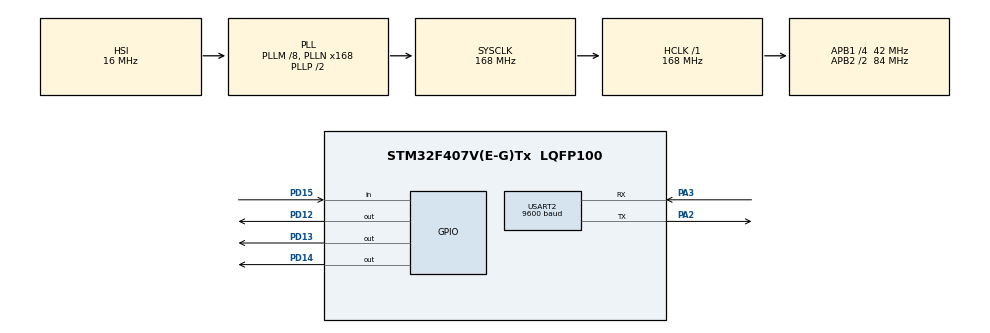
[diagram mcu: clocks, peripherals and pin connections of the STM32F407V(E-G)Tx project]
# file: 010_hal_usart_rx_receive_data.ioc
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Mcu.Family=STM32F4
Mcu.Name=STM32F407V(E-G)Tx
Mcu.Package=LQFP100
NVIC.PriorityGroup=NVIC_PRIORITYGROUP_4
PA2.Mode=Asynchronous
PA2.Signal=USART2_TX
PA3.Mode=Asynchronous
PA3.Signal=USART2_RX
PD12.Signal=GPIO_Output
PD13.Signal=GPIO_Output
PD14.Signal=GPIO_Output
PD15.Signal=GPIO_Input
ProjectManager.HeapSize=0x200
ProjectManager.StackSize=0x400
ProjectManager.TargetToolchain=STM32CubeIDE
RCC.48MHZClocksFreq_Value=84000000
RCC.AHBFreq_Value=168000000
RCC.APB1CLKDivider=RCC_HCLK_DIV4
RCC.APB1Freq_Value=42000000
RCC.APB1TimFreq_Value=84000000
RCC.APB2CLKDivider=RCC_HCLK_DIV2
RCC.APB2Freq_Value=84000000
RCC.APB2TimFreq_Value=168000000
RCC.CortexFreq_Value=168000000
RCC.HCLKFreq_Value=168000000
RCC.HSE_VALUE=25000000
RCC.HSI_VALUE=16000000
RCC.LSE_VALUE=32768
RCC.PLLM=8
RCC.PLLN=168
RCC.SYSCLKFreq_VALUE=168000000
RCC.SYSCLKSource=RCC_SYSCLKSOURCE_PLLCLK
RCC.VCOOutputFreq_Value=336000000
USART2.BaudRate=9600
USART2.VirtualMode=VM_ASYNC
board=custom

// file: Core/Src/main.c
/* USER CODE BEGIN Header */
/**
  ******************************************************************************
  * @file           : main.c
  * @brief          : Main program body
  ******************************************************************************
  * @attention
  *
  * Copyright (c) 2022 STMicroelectronics.
  * All rights reserved.
  *
  * This software is licensed under terms that can be found in the LICENSE file
  * in the root directory of this software component.
  * If no LICENSE file comes with this software, it is provided AS-IS.
  *
  ******************************************************************************
  */
/* USER CODE END Header */
#include "main.h"
#include "stdio.h"
#include "string.h"

UART_HandleTypeDef huart2;

/* USER CODE BEGIN PV */

char ss[50],ss1[50]="baglanti var.\n";

/* USER CODE END PV */

void SystemClock_Config(void);
static void MX_GPIO_Init(void);
static void MX_USART2_UART_Init(void);

int main(void)
{

  /* MCU Configuration--------------------------------------------------------*/

  /* Reset of all peripherals, Initializes the Flash interface and the Systick. */
  HAL_Init();

  /* Configure the system clock */
  SystemClock_Config();

  /* Initialize all configured peripherals */
  MX_GPIO_Init();
  MX_USART2_UART_Init();

  /* Infinite loop */
  while (1)
  {

    /* USER CODE BEGIN 3 */

	  HAL_UART_Receive(&huart2,(uint8_t*)ss, sizeof(ss), 100); // termitten dataları aldık buraya. if else ilede check ettik. led1 on yazarsak termitten pd12 yanar.

	  if(ss[0]=='l' && ss[1]=='e' && ss[2]=='d'
			  && ss[3]=='1' && ss[4]==' ' && ss[5]=='o' && ss[6]=='n'){
		  HAL_GPIO_WritePin(GPIOD, GPIO_PIN_12,GPIO_PIN_SET);
		  //HAL_UART_Transmit(&huart2, (uint8_t*)ss1 , 50, 100);
	  }else if(ss[0]=='l' && ss[1]=='e' && ss[2]=='d'
			  && ss[3]=='2' && ss[4]==' ' && ss[5]=='o' && ss[6]=='n'){
		  HAL_GPIO_WritePin(GPIOD, GPIO_PIN_13,GPIO_PIN_SET);
	  }else if(ss[0]=='l' && ss[1]=='e' && ss[2]=='d'
			  && ss[3]=='3' && ss[4]==' ' && ss[5]=='o' && ss[6]=='n'){
		  HAL_GPIO_WritePin(GPIOD, GPIO_PIN_14,GPIO_PIN_SET);
	  }else if(ss[0]=='l' && ss[1]=='e' && ss[2]=='d'
			  && ss[3]=='4' && ss[4]==' ' && ss[5]=='o' && ss[6]=='n'){
		  HAL_GPIO_WritePin(GPIOD, GPIO_PIN_15,GPIO_PIN_SET);
	  }else if(strcmp(ss,"leds off")){ // bunu kendim yaptım hoca yapmadı.
		  HAL_GPIO_WritePin(GPIOD, GPIO_PIN_12 | GPIO_PIN_13 | GPIO_PIN_14 | GPIO_PIN_15, 0);
	  }

  }
  /* USER CODE END 3 */
}

void SystemClock_Config(void)
{
  RCC_OscInitTypeDef RCC_OscInitStruct = {0};
  RCC_ClkInitTypeDef RCC_ClkInitStruct = {0};

  /** Configure the main internal regulator output voltage
  */
  __HAL_RCC_PWR_CLK_ENABLE();
  __HAL_PWR_VOLTAGESCALING_CONFIG(PWR_REGULATOR_VOLTAGE_SCALE1);

  /** Initializes the RCC Oscillators according to the specified parameters
  * in the RCC_OscInitTypeDef structure.
  */
  RCC_OscInitStruct.OscillatorType = RCC_OSCILLATORTYPE_HSI;
  RCC_OscInitStruct.HSIState = RCC_HSI_ON;
  RCC_OscInitStruct.HSICalibrationValue = RCC_HSICALIBRATION_DEFAULT;
  RCC_OscInitStruct.PLL.PLLState = RCC_PLL_ON;
  RCC_OscInitStruct.PLL.PLLSource = RCC_PLLSOURCE_HSI;
  RCC_OscInitStruct.PLL.PLLM = 8;
  RCC_OscInitStruct.PLL.PLLN = 168;
  RCC_OscInitStruct.PLL.PLLP = RCC_PLLP_DIV2;
  RCC_OscInitStruct.PLL.PLLQ = 4;
  if (HAL_RCC_OscConfig(&RCC_OscInitStruct) != HAL_OK)
  {
    Error_Handler();
  }

  /** Initializes the CPU, AHB and APB buses clocks
  */
  RCC_ClkInitStruct.ClockType = RCC_CLOCKTYPE_HCLK|RCC_CLOCKTYPE_SYSCLK
                              |RCC_CLOCKTYPE_PCLK1|RCC_CLOCKTYPE_PCLK2;
  RCC_ClkInitStruct.SYSCLKSource = RCC_SYSCLKSOURCE_PLLCLK;
  RCC_ClkInitStruct.AHBCLKDivider = RCC_SYSCLK_DIV1;
  RCC_ClkInitStruct.APB1CLKDivider = RCC_HCLK_DIV4;
  RCC_ClkInitStruct.APB2CLKDivider = RCC_HCLK_DIV2;

  if (HAL_RCC_ClockConfig(&RCC_ClkInitStruct, FLASH_LATENCY_5) != HAL_OK)
  {
    Error_Handler();
  }
}

static void MX_USART2_UART_Init(void)
{

  huart2.Instance = USART2;
  huart2.Init.BaudRate = 9600;
  huart2.Init.WordLength = UART_WORDLENGTH_8B;
  huart2.Init.StopBits = UART_STOPBITS_1;
  huart2.Init.Parity = UART_PARITY_NONE;
  huart2.Init.Mode = UART_MODE_TX_RX;
  huart2.Init.HwFlowCtl = UART_HWCONTROL_NONE;
  huart2.Init.OverSampling = UART_OVERSAMPLING_16;
  if (HAL_UART_Init(&huart2) != HAL_OK)
  {
    Error_Handler();
  }

}

static void MX_GPIO_Init(void)
{
  GPIO_InitTypeDef GPIO_InitStruct = {0};

  /* GPIO Ports Clock Enable */
  __HAL_RCC_GPIOA_CLK_ENABLE();
  __HAL_RCC_GPIOD_CLK_ENABLE();

  /*Configure GPIO pin Output Level */
  HAL_GPIO_WritePin(GPIOD, GPIO_PIN_12|GPIO_PIN_13|GPIO_PIN_14, GPIO_PIN_RESET);

  /*Configure GPIO pins : PD12 PD13 PD14 */
  GPIO_InitStruct.Pin = GPIO_PIN_12|GPIO_PIN_13|GPIO_PIN_14;
  GPIO_InitStruct.Mode = GPIO_MODE_OUTPUT_PP;
  GPIO_InitStruct.Pull = GPIO_NOPULL;
  GPIO_InitStruct.Speed = GPIO_SPEED_FREQ_LOW;
  HAL_GPIO_Init(GPIOD, &GPIO_InitStruct);

  /*Configure GPIO pin : PD15 */
  GPIO_InitStruct.Pin = GPIO_PIN_15;
  GPIO_InitStruct.Mode = GPIO_MODE_INPUT;
  GPIO_InitStruct.Pull = GPIO_NOPULL;
  HAL_GPIO_Init(GPIOD, &GPIO_InitStruct);

}

void Error_Handler(void)
{
  __disable_irq();
  while (1)
  {
  }
}
